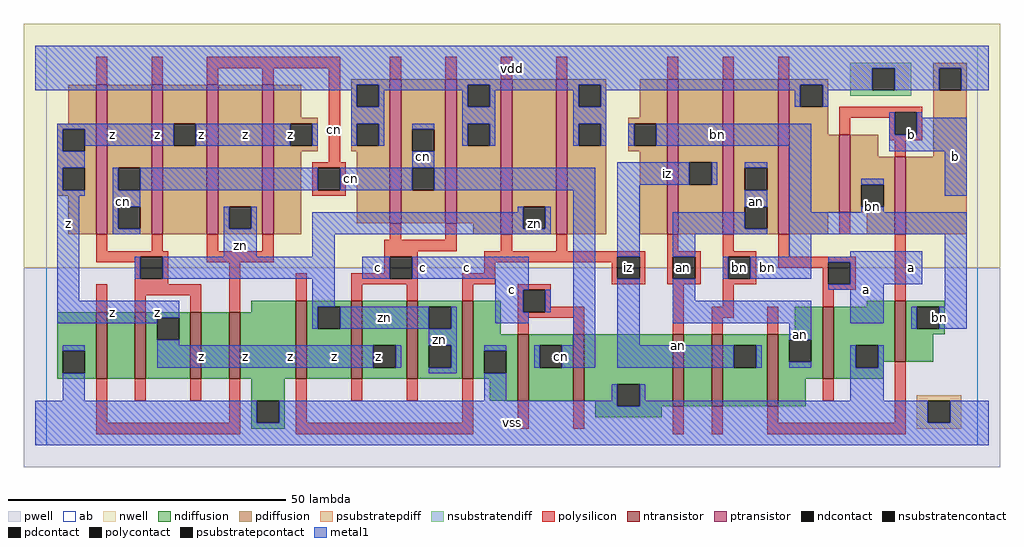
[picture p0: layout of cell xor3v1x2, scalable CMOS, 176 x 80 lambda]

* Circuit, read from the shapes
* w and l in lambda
.subckt xor3v1x2 a an b bn c cn iz vdd vss z zn
M1 n1 cn vss vss nfet w=12 l=2
M2 z zn n1 vss nfet w=12 l=2
M3 n2 zn z vss nfet w=12 l=2
M4 vss cn n2 vss nfet w=12 l=2
M5 zn iz vss vss nfet w=14 l=2 m=2
M6 z c zn vss nfet w=14 l=2 m=2
M7 cn c vss vss nfet w=12 l=2 m=2
M8 n3 an vss vss nfet w=13 l=2
M9 iz bn n3 vss nfet w=13 l=2
M10 an b iz vss nfet w=13 l=2
M11 vss a an vss nfet w=13 l=2
M12 bn b vss vss nfet w=11 l=2
M13 cn zn z vdd pfet w=27 l=2 m=2
M14 zn cn z vdd pfet w=27 l=2 m=2
M15 cn c vdd vdd pfet w=26 l=2 m=2
M16 zn iz vdd vdd pfet w=28 l=2 m=2
M17 iz an bn vdd pfet w=28 l=2
M18 an bn iz vdd pfet w=28 l=2
M19 vdd a an vdd pfet w=28 l=2
M20 bn b vdd vdd pfet w=14 l=2 m=2
.ends

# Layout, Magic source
magic
tech scmos
<< ab >>
rect 0 0 168 72
<< pwell >>
rect -4 -4 172 32
<< nwell >>
rect -4 32 172 76
<< polysilicon >>
rect 9 65 11 70
rect 19 65 21 70
rect 29 68 53 70
rect 29 65 31 68
rect 39 65 41 68
rect 51 51 53 68
rect 62 66 64 70
rect 72 66 74 70
rect 82 66 84 70
rect 92 66 94 70
rect 112 66 114 70
rect 122 66 124 70
rect 132 66 134 70
rect 48 50 54 51
rect 48 46 49 50
rect 53 46 54 50
rect 48 45 54 46
rect 9 35 11 38
rect 19 35 21 38
rect 29 35 31 38
rect 39 35 41 38
rect 62 37 64 40
rect 72 37 74 40
rect 143 60 158 61
rect 143 59 153 60
rect 143 56 145 59
rect 152 56 153 59
rect 157 56 158 60
rect 152 55 158 56
rect 153 52 155 55
rect 143 38 145 42
rect 9 34 22 35
rect 9 33 17 34
rect 16 30 17 33
rect 21 30 22 34
rect 29 33 41 35
rect 61 35 74 37
rect 82 35 84 38
rect 92 35 94 38
rect 112 35 114 38
rect 122 35 124 38
rect 61 34 67 35
rect 16 29 22 30
rect 9 24 11 29
rect 16 27 28 29
rect 16 24 18 27
rect 26 24 28 27
rect 33 24 35 33
rect 61 31 62 34
rect 45 26 47 31
rect 55 30 62 31
rect 66 30 67 34
rect 79 34 108 35
rect 79 33 103 34
rect 79 31 81 33
rect 55 29 67 30
rect 55 26 57 29
rect 65 26 67 29
rect 75 29 81 31
rect 102 30 103 33
rect 107 30 108 34
rect 102 29 108 30
rect 112 34 118 35
rect 112 30 113 34
rect 117 30 118 34
rect 112 29 118 30
rect 122 34 128 35
rect 122 30 123 34
rect 127 30 128 34
rect 132 34 134 38
rect 132 33 146 34
rect 132 32 141 33
rect 122 29 128 30
rect 140 29 141 32
rect 145 29 146 33
rect 75 26 77 29
rect 85 28 91 29
rect 85 24 86 28
rect 90 25 91 28
rect 90 24 97 25
rect 85 23 97 24
rect 85 20 87 23
rect 95 20 97 23
rect 113 20 115 29
rect 122 25 124 29
rect 140 28 146 29
rect 140 25 142 28
rect 153 26 155 38
rect 120 23 124 25
rect 120 20 122 23
rect 130 20 132 25
rect 9 4 11 12
rect 16 8 18 12
rect 26 8 28 12
rect 33 4 35 12
rect 9 2 35 4
rect 45 4 47 12
rect 55 8 57 12
rect 65 8 67 12
rect 75 4 77 12
rect 45 2 77 4
rect 85 3 87 8
rect 95 3 97 8
rect 140 8 142 12
rect 113 2 115 7
rect 120 2 122 7
rect 130 4 132 7
rect 153 4 155 15
rect 130 2 155 4
<< ndiffusion >>
rect 37 24 45 26
rect 2 17 9 24
rect 2 13 3 17
rect 7 13 9 17
rect 2 12 9 13
rect 11 12 16 24
rect 18 23 26 24
rect 18 19 20 23
rect 24 19 26 23
rect 18 12 26 19
rect 28 12 33 24
rect 35 12 45 24
rect 47 25 55 26
rect 47 21 49 25
rect 53 21 55 25
rect 47 12 55 21
rect 57 18 65 26
rect 57 14 59 18
rect 63 14 65 18
rect 57 12 65 14
rect 67 25 75 26
rect 67 21 69 25
rect 73 21 75 25
rect 67 18 75 21
rect 67 14 69 18
rect 73 14 75 18
rect 67 12 75 14
rect 77 20 82 26
rect 148 25 153 26
rect 135 20 140 25
rect 77 17 85 20
rect 77 13 79 17
rect 83 13 85 17
rect 77 12 85 13
rect 37 8 43 12
rect 37 4 38 8
rect 42 4 43 8
rect 37 3 43 4
rect 80 8 85 12
rect 87 18 95 20
rect 87 14 89 18
rect 93 14 95 18
rect 87 8 95 14
rect 97 11 113 20
rect 97 8 103 11
rect 99 7 103 8
rect 107 7 113 11
rect 115 7 120 20
rect 122 18 130 20
rect 122 14 124 18
rect 128 14 130 18
rect 122 7 130 14
rect 132 19 140 20
rect 132 15 134 19
rect 138 15 140 19
rect 132 12 140 15
rect 142 18 153 25
rect 142 14 146 18
rect 150 15 153 18
rect 155 25 162 26
rect 155 21 157 25
rect 161 21 162 25
rect 155 20 162 21
rect 155 15 160 20
rect 150 14 151 15
rect 142 12 151 14
rect 132 7 137 12
rect 99 5 111 7
<< pdiffusion >>
rect 4 58 9 65
rect 2 57 9 58
rect 2 53 3 57
rect 7 53 9 57
rect 2 50 9 53
rect 2 46 3 50
rect 7 46 9 50
rect 2 45 9 46
rect 4 38 9 45
rect 11 50 19 65
rect 11 46 13 50
rect 17 46 19 50
rect 11 43 19 46
rect 11 39 13 43
rect 17 39 19 43
rect 11 38 19 39
rect 21 58 29 65
rect 21 54 23 58
rect 27 54 29 58
rect 21 38 29 54
rect 31 43 39 65
rect 31 39 33 43
rect 37 39 39 43
rect 31 38 39 39
rect 41 59 46 65
rect 41 58 49 59
rect 41 54 44 58
rect 48 54 49 58
rect 41 53 49 54
rect 41 38 46 53
rect 55 65 62 66
rect 55 61 56 65
rect 60 61 62 65
rect 55 58 62 61
rect 55 54 56 58
rect 60 54 62 58
rect 55 53 62 54
rect 56 40 62 53
rect 64 57 72 66
rect 64 53 66 57
rect 70 53 72 57
rect 64 50 72 53
rect 64 46 66 50
rect 70 46 72 50
rect 64 40 72 46
rect 74 65 82 66
rect 74 61 76 65
rect 80 61 82 65
rect 74 58 82 61
rect 74 54 76 58
rect 80 54 82 58
rect 74 40 82 54
rect 77 38 82 40
rect 84 43 92 66
rect 84 39 86 43
rect 90 39 92 43
rect 84 38 92 39
rect 94 65 101 66
rect 94 61 96 65
rect 100 61 101 65
rect 94 58 101 61
rect 107 59 112 66
rect 94 54 96 58
rect 100 54 101 58
rect 94 38 101 54
rect 105 58 112 59
rect 105 54 106 58
rect 110 54 112 58
rect 105 53 112 54
rect 107 38 112 53
rect 114 51 122 66
rect 114 47 116 51
rect 120 47 122 51
rect 114 38 122 47
rect 124 50 132 66
rect 124 46 126 50
rect 130 46 132 50
rect 124 43 132 46
rect 124 39 126 43
rect 130 39 132 43
rect 124 38 132 39
rect 134 65 141 66
rect 134 61 136 65
rect 140 61 141 65
rect 160 68 166 69
rect 160 64 161 68
rect 165 64 166 68
rect 134 56 141 61
rect 134 42 143 56
rect 145 52 150 56
rect 160 52 166 64
rect 145 47 153 52
rect 145 43 147 47
rect 151 43 153 47
rect 145 42 153 43
rect 134 38 141 42
rect 148 38 153 42
rect 155 38 166 52
<< metal1 >>
rect -2 68 170 72
rect -2 65 149 68
rect -2 64 56 65
rect 55 61 56 64
rect 60 64 76 65
rect 60 61 61 64
rect 55 58 61 61
rect 75 61 76 64
rect 80 64 96 65
rect 80 61 81 64
rect 75 58 81 61
rect 2 57 23 58
rect 2 53 3 57
rect 7 54 23 57
rect 27 54 44 58
rect 48 54 49 58
rect 55 54 56 58
rect 60 54 61 58
rect 66 57 70 58
rect 2 50 7 53
rect 75 54 76 58
rect 80 54 81 58
rect 95 61 96 64
rect 100 64 136 65
rect 100 61 101 64
rect 135 61 136 64
rect 140 64 149 65
rect 153 64 161 68
rect 165 64 170 68
rect 140 61 141 64
rect 95 58 101 61
rect 95 54 96 58
rect 100 54 101 58
rect 105 54 106 58
rect 110 54 138 58
rect 66 50 70 53
rect 2 46 3 50
rect 2 45 7 46
rect 12 46 13 50
rect 17 46 49 50
rect 53 46 66 50
rect 70 46 99 50
rect 2 26 6 45
rect 12 43 17 46
rect 12 39 13 43
rect 12 38 17 39
rect 32 39 33 43
rect 37 39 38 43
rect 85 42 86 43
rect 32 34 38 39
rect 48 39 86 42
rect 90 39 91 43
rect 48 38 91 39
rect 48 34 52 38
rect 16 30 17 34
rect 21 30 52 34
rect 57 30 62 34
rect 66 30 87 34
rect 2 23 24 26
rect 2 22 20 23
rect 48 25 52 30
rect 81 28 87 30
rect 48 21 49 25
rect 53 21 69 25
rect 73 21 74 25
rect 81 24 86 28
rect 90 24 91 28
rect 81 22 87 24
rect 20 18 24 19
rect 69 18 74 21
rect 95 18 99 46
rect 3 17 7 18
rect 20 14 59 18
rect 63 14 64 18
rect 73 14 74 18
rect 69 13 74 14
rect 79 17 83 18
rect 88 14 89 18
rect 93 14 99 18
rect 103 47 116 51
rect 120 47 121 51
rect 126 50 130 51
rect 103 34 107 47
rect 126 43 130 46
rect 103 18 107 30
rect 113 39 126 42
rect 113 38 130 39
rect 134 42 138 54
rect 152 56 153 60
rect 157 59 158 60
rect 157 56 166 59
rect 152 53 166 56
rect 147 47 151 48
rect 162 45 166 53
rect 147 42 151 43
rect 134 38 166 42
rect 113 34 117 38
rect 134 34 138 38
rect 145 34 158 35
rect 122 30 123 34
rect 127 30 138 34
rect 141 33 158 34
rect 113 26 117 30
rect 145 29 158 33
rect 141 28 151 29
rect 113 22 138 26
rect 145 22 151 28
rect 162 25 166 38
rect 134 19 138 22
rect 156 21 157 25
rect 161 21 166 25
rect 103 14 124 18
rect 128 14 129 18
rect 134 14 138 15
rect 145 14 146 18
rect 150 14 151 18
rect 3 8 7 13
rect 79 8 83 13
rect 102 8 103 11
rect -2 4 38 8
rect 42 7 103 8
rect 107 8 108 11
rect 145 8 151 14
rect 107 7 159 8
rect 42 4 159 7
rect 163 4 170 8
rect -2 0 170 4
<< ntransistor >>
rect 9 12 11 24
rect 16 12 18 24
rect 26 12 28 24
rect 33 12 35 24
rect 45 12 47 26
rect 55 12 57 26
rect 65 12 67 26
rect 75 12 77 26
rect 85 8 87 20
rect 95 8 97 20
rect 113 7 115 20
rect 120 7 122 20
rect 130 7 132 20
rect 140 12 142 25
rect 153 15 155 26
<< ptransistor >>
rect 9 38 11 65
rect 19 38 21 65
rect 29 38 31 65
rect 39 38 41 65
rect 62 40 64 66
rect 72 40 74 66
rect 82 38 84 66
rect 92 38 94 66
rect 112 38 114 66
rect 122 38 124 66
rect 132 38 134 66
rect 143 42 145 56
rect 153 38 155 52
<< polycontact >>
rect 49 46 53 50
rect 153 56 157 60
rect 17 30 21 34
rect 62 30 66 34
rect 103 30 107 34
rect 113 30 117 34
rect 123 30 127 34
rect 141 29 145 33
rect 86 24 90 28
<< ndcontact >>
rect 3 13 7 17
rect 20 19 24 23
rect 49 21 53 25
rect 59 14 63 18
rect 69 21 73 25
rect 69 14 73 18
rect 79 13 83 17
rect 38 4 42 8
rect 89 14 93 18
rect 103 7 107 11
rect 124 14 128 18
rect 134 15 138 19
rect 146 14 150 18
rect 157 21 161 25
<< pdcontact >>
rect 3 53 7 57
rect 3 46 7 50
rect 13 46 17 50
rect 13 39 17 43
rect 23 54 27 58
rect 33 39 37 43
rect 44 54 48 58
rect 56 61 60 65
rect 56 54 60 58
rect 66 53 70 57
rect 66 46 70 50
rect 76 61 80 65
rect 76 54 80 58
rect 86 39 90 43
rect 96 61 100 65
rect 96 54 100 58
rect 106 54 110 58
rect 116 47 120 51
rect 126 46 130 50
rect 126 39 130 43
rect 136 61 140 65
rect 161 64 165 68
rect 147 43 151 47
<< psubstratepcontact >>
rect 159 4 163 8
<< nsubstratencontact >>
rect 149 64 153 68
<< psubstratepdiff >>
rect 157 8 165 9
rect 157 4 159 8
rect 163 4 165 8
rect 157 3 165 4
<< nsubstratendiff >>
rect 145 68 156 69
rect 145 64 149 68
rect 153 64 156 68
rect 145 63 156 64
<< labels >>
rlabel polysilicon 52 57 52 57 6 cn
rlabel ntransistor 114 18 114 18 6 an
rlabel polycontact 105 32 105 32 6 iz
rlabel polycontact 125 32 125 32 6 bn
rlabel metal1 28 16 28 16 6 z
rlabel metal1 20 24 20 24 6 z
rlabel metal1 12 24 12 24 6 z
rlabel metal1 4 40 4 40 6 z
rlabel metal1 14 44 14 44 6 cn
rlabel metal1 12 56 12 56 6 z
rlabel metal1 20 56 20 56 6 z
rlabel metal1 28 56 28 56 6 z
rlabel metal1 36 16 36 16 6 z
rlabel metal1 44 16 44 16 6 z
rlabel metal1 52 16 52 16 6 z
rlabel ndcontact 60 16 60 16 6 z
rlabel metal1 60 32 60 32 6 c
rlabel metal1 35 36 35 36 6 zn
rlabel metal1 36 56 36 56 6 z
rlabel metal1 44 56 44 56 6 z
rlabel metal1 84 4 84 4 6 vss
rlabel metal1 71 19 71 19 6 zn
rlabel metal1 93 16 93 16 6 cn
rlabel metal1 61 23 61 23 6 zn
rlabel metal1 76 32 76 32 6 c
rlabel metal1 84 28 84 28 6 c
rlabel metal1 68 32 68 32 6 c
rlabel pdcontact 88 40 88 40 6 zn
rlabel metal1 55 48 55 48 6 cn
rlabel metal1 68 52 68 52 6 cn
rlabel metal1 84 68 84 68 6 vdd
rlabel metal1 116 16 116 16 6 iz
rlabel polycontact 115 32 115 32 6 an
rlabel metal1 128 44 128 44 6 an
rlabel polycontact 105 32 105 32 6 iz
rlabel metal1 112 49 112 49 6 iz
rlabel metal1 136 20 136 20 6 an
rlabel metal1 161 23 161 23 6 bn
rlabel metal1 148 28 148 28 6 a
rlabel metal1 156 32 156 32 6 a
rlabel metal1 130 32 130 32 6 bn
rlabel metal1 149 43 149 43 6 bn
rlabel metal1 164 52 164 52 6 b
rlabel metal1 156 56 156 56 6 b
rlabel metal1 121 56 121 56 6 bn
<< end >>
